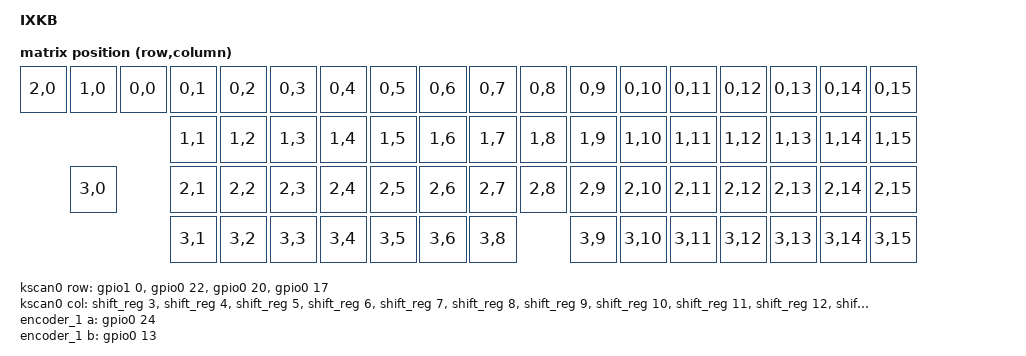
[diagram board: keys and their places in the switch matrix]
/*
 * Copyright (c) 2020 The ZMK Contributors
 *
 * SPDX-License-Identifier: MIT
 */

/dts-v1/;
#include <nordic/nrf52840_qiaa.dtsi>
#include <dt-bindings/zmk/matrix_transform.h>


/ {
    model = "IXKB";
    compatible = "frg,ixkb";

    chosen {
        zephyr,console = &cdc_acm_uart;
        zephyr,shell-uart = &cdc_acm_uart;
        zephyr,uart-mcumgr = &cdc_acm_uart;
        zephyr,bt-mon-uart = &cdc_acm_uart;
        zephyr,bt-c2h-uart = &cdc_acm_uart;
        zephyr,code-partition = &code_partition;
        zephyr,sram = &sram0;
        zephyr,flash = &flash0;
        zmk,kscan = &kscan0;
        zmk,matrix_transform = &default_transform;
        zmk,battery = &vbatt;
    };

    sensors {
        compatible = "zmk,keymap-sensors";
        sensors = <&encoder_1>;
        //sensors = <&encoder_1 &joystick0>;
        triggers-per-rotation = <20>;
    };

    kscan0: kscan_0 {
        compatible = "zmk,kscan-gpio-matrix";
        label = "KSCAN";
        diode-direction = "col2row";
        col-gpios
            = <&shift_reg  3 (GPIO_ACTIVE_LOW)>
            , <&shift_reg  4 (GPIO_ACTIVE_LOW)>
            , <&shift_reg  5 (GPIO_ACTIVE_LOW)>
            , <&shift_reg  6 (GPIO_ACTIVE_LOW)>
            , <&shift_reg  7 (GPIO_ACTIVE_LOW)>
            , <&shift_reg  8 (GPIO_ACTIVE_LOW)>
            , <&shift_reg  9 (GPIO_ACTIVE_LOW)>
            , <&shift_reg 10 (GPIO_ACTIVE_LOW)>
            , <&shift_reg 11 (GPIO_ACTIVE_LOW)>
            , <&shift_reg 12 (GPIO_ACTIVE_LOW)>
            , <&shift_reg 13 (GPIO_ACTIVE_LOW)>
            , <&shift_reg 14 (GPIO_ACTIVE_LOW)>
            , <&shift_reg 15 (GPIO_ACTIVE_LOW)>
            , <&shift_reg  0 (GPIO_ACTIVE_LOW)>
            , <&shift_reg  1 (GPIO_ACTIVE_LOW)>
            , <&shift_reg  2 (GPIO_ACTIVE_LOW)>
            ;

        row-gpios
            = <&gpio1  0 (GPIO_ACTIVE_LOW | GPIO_PULL_UP)>
            , <&gpio0 22 (GPIO_ACTIVE_LOW | GPIO_PULL_UP)>
            , <&gpio0 20 (GPIO_ACTIVE_LOW | GPIO_PULL_UP)>
            , <&gpio0 17 (GPIO_ACTIVE_LOW | GPIO_PULL_UP)>
            ;
    };

    default_transform: keymap_transform_0 {
        compatible = "zmk,matrix-transform";
        columns = <18>;
        rows = <4>;
    
        map = <
        RC(2,0) RC(1,0) RC(0,0)         RC(0,1) RC(0,2) RC(0,3) RC(0,4) RC(0,5) RC(0,6) RC(0,7) RC(0,8) RC(0,9) RC(0,10) RC(0,11) RC(0,12)         RC(0,13) RC(0,14) RC(0,15)
                                        RC(1,1) RC(1,2) RC(1,3) RC(1,4) RC(1,5) RC(1,6) RC(1,7) RC(1,8) RC(1,9) RC(1,10) RC(1,11) RC(1,12)         RC(1,13) RC(1,14) RC(1,15)
                RC(3,0)                 RC(2,1) RC(2,2) RC(2,3) RC(2,4) RC(2,5) RC(2,6) RC(2,7) RC(2,8) RC(2,9) RC(2,10) RC(2,11) RC(2,12)         RC(2,13) RC(2,14) RC(2,15)
                                        RC(3,1) RC(3,2) RC(3,3) RC(3,4) RC(3,5)     RC(3,6)     RC(3,8) RC(3,9) RC(3,10) RC(3,11) RC(3,12)         RC(3,13) RC(3,14) RC(3,15)
        >;
    };

    leds {
        compatible = "gpio-leds";
        blue_led: led_0 {
            gpios = <&gpio0 10 GPIO_ACTIVE_HIGH>;
            label = "Blue LED";
        };
    };

    encoder_1: encoder_1 {
        compatible = "alps,ec11";
        label = "Encoder";
        a-gpios = <&gpio0 24 (GPIO_ACTIVE_HIGH | GPIO_PULL_UP)>;
        b-gpios = <&gpio0 13 (GPIO_ACTIVE_HIGH | GPIO_PULL_UP)>;
        steps = <20>;
    };

    vbatt: vbatt {
        compatible = "zmk,battery-voltage-divider";
        label = "BATTERY";
        io-channels = <&adc 2>;
        output-ohms = <2000000>;
        full-ohms = <(2000000 + 806000)>;
    };

    joystick: joystick {
        compatible = "zmk,input-analog-joystick";
        label = "JOYSTICK";
        io-channels = <&adc 7>, <&adc 6>;
        io-channel-names = "X-AXIS", "Y-AXIS";
        max-mv = <1650>;
        status = "okay";

        joystick_input_listener {
            compatible = "zmk,input-listener";
            device = <&joystick>;
        };
    };
};

&adc {
    status = "okay";
};

&gpiote {
    status = "okay";
};

&gpio0 {
    status = "okay";
};

&gpio1 {
    status = "okay";
};

&usbd {
    status = "okay";
    cdc_acm_uart: cdc_acm_uart {
        compatible = "zephyr,cdc-acm-uart";
        label = "CDC_ACM_0";
    };
};


&flash0 {
    /*
     * For more information, see:
     * http://docs.zephyrproject.org/latest/devices/dts/flash_partitions.html
     */
    partitions {
        compatible = "fixed-partitions";
        #address-cells = <1>;
        #size-cells = <1>;

        sd_partition: partition@0 {
            label = "softdevice";
            reg = <0x00000000 0x00026000>;
        };
        code_partition: partition@26000 {
            label = "code_partition";
            reg = <0x00026000 0x000c6000>;
        };

        /*
         * The flash starting at 0x000ec000 and ending at
         * 0x000f3fff is reserved for use by the application.
         */

        /*
         * Storage partition will be used by FCB/LittleFS/NVS
         * if enabled.
         */
        storage_partition: partition@ec000 {
            label = "storage";
            reg = <0x000ec000 0x00008000>;
        };

        boot_partition: partition@f4000 {
            label = "adafruit_boot";
            reg = <0x000f4000 0x0000c000>;
        };
    };
};

&pinctrl {
  spi3_default: spi3_default {
    group1 {
      psels = <NRF_PSEL(SPIM_SCK, 0, 26)>,
        <NRF_PSEL(SPIM_MOSI, 0, 8)>;
    };
  };

  spi3_sleep: spi3_sleep {
    group1 {
      psels = <NRF_PSEL(SPIM_SCK, 0, 26)>,
        <NRF_PSEL(SPIM_MOSI, 0, 8)>;
        low-power-enable;
    };
  };
};

&spi3 {
    compatible = "nordic,nrf-spim";
    status = "okay";

    pinctrl-0 = <&spi3_default>;
    pinctrl-1 = <&spi3_sleep>;
    pinctrl-names = "default", "sleep";

    cs-gpios = <&gpio0 6 GPIO_ACTIVE_LOW>;

    shift_reg: 595@0 {
        compatible = "zmk,gpio-595";
        status = "okay";
        gpio-controller;
        spi-max-frequency = <200000>;
        reg = <0>;
        label = "74HC595";
        #gpio-cells = <2>;
        ngpios = <16>;
    };
};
